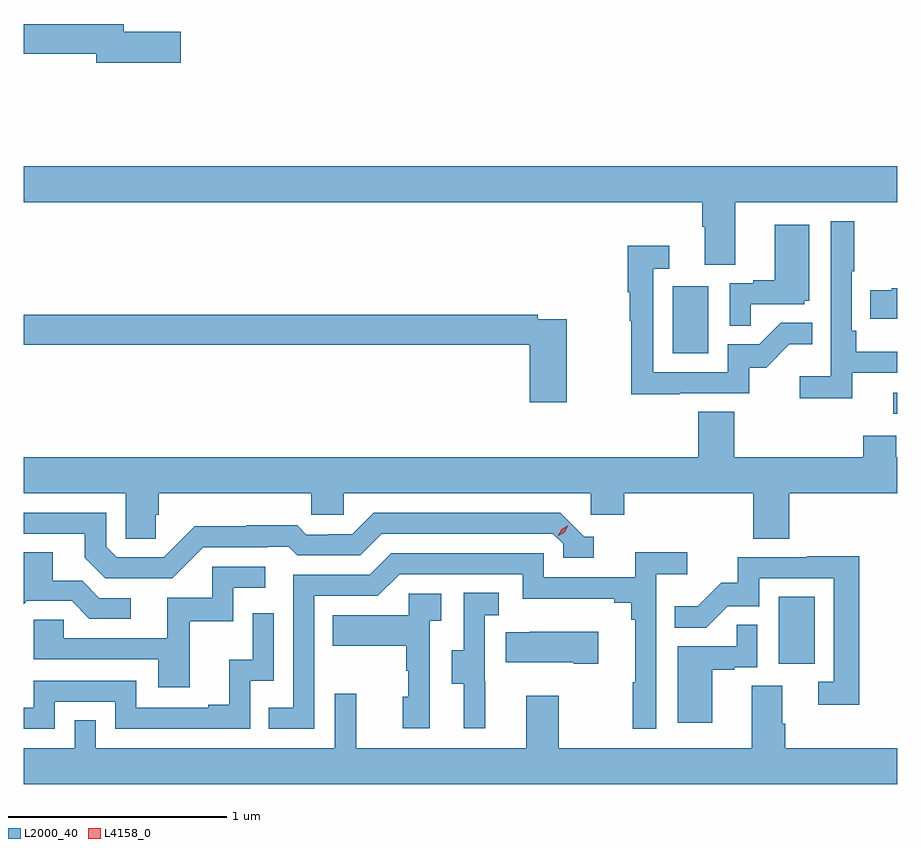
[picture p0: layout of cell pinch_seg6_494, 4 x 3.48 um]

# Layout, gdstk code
import gdstk
lib = gdstk.Library(unit=1e-6, precision=1e-09)
def R(c, l, rs):  # rectangles x0, y0, x1, y1
    for r in rs: c.add(gdstk.rectangle(r[:2], r[2:], *l))
def P(c, l, *ps):  # polygons
    for p in ps: c.add(gdstk.Polygon(p, *l))
L2000_40 = (2000, 40)
L4158_0 = (4158, 0)

pinch_seg6_494 = lib.new_cell('pinch_seg6_494')
R(pinch_seg6_494, L2000_40, [(844.016,926.574,844.18,926.881), (844.541,927.72,844.559,927.816), (843.53,927.996,843.694,928.303)])
P(pinch_seg6_494, L2000_40, [(841.279,929.468),(841.018,929.468),(841.018,929.504),(840.559,929.504),(840.559,929.368),(840.89,929.368),(840.89,929.326),(841.279,929.326)],
  [(843.817,928.688),(844.559,928.688),(844.559,928.852),(840.559,928.852),(840.559,928.688),(843.665,928.688),(843.665,928.576),(843.677,928.576),(843.677,928.402),(843.817,928.402)],
  [(844.352,927.906),(844.559,927.906),(844.559,928.003),(844.37,928.003),(844.37,928.099),(844.35,928.099),(844.35,928.372),(844.363,928.372),(844.363,928.6),(844.254,928.6),(844.254,927.892),(844.113,927.892),(844.113,927.79),(844.352,927.79)],
  [(843.887,928.221),(844.134,928.221),(844.134,928.236),(844.156,928.236),(844.156,928.585),(843.998,928.585),(843.998,928.33),(843.899,928.33),(843.899,928.317),(843.792,928.317),(843.792,928.123),(843.887,928.123)],
  [(843.563,927.813),(843.882,927.813),(843.882,927.93),(843.958,927.93),(844.065,928.037),(844.169,928.037),(844.169,928.136),(844.025,928.136),(843.927,928.038),(843.783,928.038),(843.783,927.909),(843.441,927.909),(843.441,928.383),(843.514,928.383),(843.514,928.489),(843.325,928.489),(843.325,928.276),(843.333,928.276),(843.333,928.146),(843.34,928.146),(843.34,927.808),(843.563,927.808)],
  [(844.559,928.294),(844.533,928.294),(844.533,928.284),(844.435,928.284),(844.435,928.154),(844.559,928.154)],
  [(843.046,928.152),(842.912,928.152),(842.912,928.172),(840.559,928.172),(840.559,928.036),(842.876,928.036),(842.876,927.771),(843.046,927.771)],
  [(843.812,927.728),(843.647,927.728),(843.647,927.52),(840.559,927.52),(840.559,927.356),(841.026,927.356),(841.026,927.148),(841.163,927.148),(841.163,927.258),(841.178,927.258),(841.178,927.356),(841.875,927.356),(841.875,927.258),(842.025,927.258),(842.025,927.356),(843.156,927.356),(843.156,927.258),(843.308,927.258),(843.308,927.356),(843.899,927.356),(843.899,927.148),(844.064,927.148),(844.064,927.356),(844.559,927.356),(844.559,927.52),(844.554,927.52),(844.554,927.618),(844.403,927.618),(844.403,927.52),(843.812,927.52)],
  [(841.38,927.108),(841.673,927.108),(841.673,927.111),(841.772,927.111),(841.811,927.072),(842.1,927.072),(842.199,927.171),(842.982,927.171),(843.03,927.123),(843.03,927.06),(843.169,927.06),(843.169,927.156),(843.126,927.156),(843.015,927.267),(842.162,927.267),(842.063,927.168),(841.956,927.168),(841.956,927.165),(841.853,927.165),(841.811,927.208),(841.578,927.208),(841.578,927.205),(841.342,927.205),(841.2,927.063),(840.984,927.063),(840.936,927.111),(840.936,927.267),(840.559,927.267),(840.559,927.171),(840.839,927.171),(840.839,927.061),(840.933,926.967),(841.239,926.967)],
  [(841.048,926.874),(840.906,926.874),(840.826,926.954),(840.691,926.954),(840.691,927.086),(840.559,927.086),(840.559,926.848),(840.573,926.862),(840.779,926.862),(840.86,926.781),(841.048,926.781)],
  [(841.89,926.886),(842.181,926.886),(842.28,926.985),(842.844,926.985),(842.844,926.873),(843.263,926.873),(843.263,926.854),(843.34,926.854),(843.34,926.777),(843.359,926.777),(843.359,926.489),(843.348,926.489),(843.348,926.277),(843.456,926.277),(843.456,926.984),(843.598,926.984),(843.598,927.086),(843.359,927.086),(843.359,926.97),(842.94,926.97),(842.94,927.081),(842.243,927.081),(842.144,926.982),(841.794,926.982),(841.794,926.373),(841.681,926.373),(841.681,926.277),(841.89,926.277)],
  [(844.385,927.068),(844.147,927.068),(844.147,927.063),(843.829,927.063),(843.829,926.946),(843.752,926.946),(843.645,926.839),(843.541,926.839),(843.541,926.74),(843.685,926.74),(843.783,926.838),(843.927,926.838),(843.927,926.967),(844.269,926.967),(844.269,926.493),(844.197,926.493),(844.197,926.388),(844.385,926.388)],
  [(841.319,926.769),(841.518,926.769),(841.518,926.922),(841.666,926.922),(841.666,927.018),(841.422,927.018),(841.422,926.877),(841.217,926.877),(841.217,926.691),(840.743,926.691),(840.743,926.775),(840.606,926.775),(840.606,926.595),(841.175,926.595),(841.175,926.466),(841.319,926.466)],
  [(842.672,926.493),(842.67,926.493),(842.67,926.797),(842.734,926.797),(842.734,926.9),(842.574,926.9),(842.574,926.637),(842.519,926.637),(842.519,926.482),(842.573,926.482),(842.573,926.28),(842.672,926.28)],
  [(842.418,926.771),(842.47,926.771),(842.47,926.895),(842.322,926.895),(842.322,926.797),(841.975,926.797),(841.975,926.657),(842.31,926.657),(842.31,926.543),(842.32,926.543),(842.32,926.424),(842.294,926.424),(842.294,926.28),(842.418,926.28)],
  [(840.702,926.4),(840.978,926.4),(840.978,926.277),(841.596,926.277),(841.596,926.496),(841.704,926.496),(841.704,926.806),(841.608,926.806),(841.608,926.594),(841.499,926.594),(841.499,926.386),(841.403,926.386),(841.403,926.373),(841.074,926.373),(841.074,926.496),(840.606,926.496),(840.606,926.373),(840.559,926.373),(840.559,926.277),(840.702,926.277)],
  [(843.712,926.547),(843.812,926.547),(843.812,926.559),(843.918,926.559),(843.918,926.753),(843.823,926.753),(843.823,926.655),(843.554,926.655),(843.554,926.304),(843.712,926.304)],
  [(843.19,926.722),(842.875,926.722),(842.875,926.719),(842.767,926.719),(842.767,926.582),(843.077,926.582),(843.077,926.575),(843.19,926.575)],
  [(844.559,926.188),(844.046,926.188),(844.046,926.3),(844.033,926.3),(844.033,926.474),(843.893,926.474),(843.893,926.188),(843.009,926.188),(843.009,926.428),(842.861,926.428),(842.861,926.188),(842.081,926.188),(842.081,926.437),(841.983,926.437),(841.983,926.188),(840.888,926.188),(840.888,926.315),(840.792,926.315),(840.792,926.188),(840.559,926.188),(840.559,926.024),(844.559,926.024)])
P(pinch_seg6_494, L4158_0, [(843.005,927.158),(843.005,927.158),(843.022,927.19),(843.053,927.209),(843.053,927.209),(843.053,927.209),(843.036,927.177),(843.005,927.158)])

lib.write_gds('pinch_seg6_494.gds')
